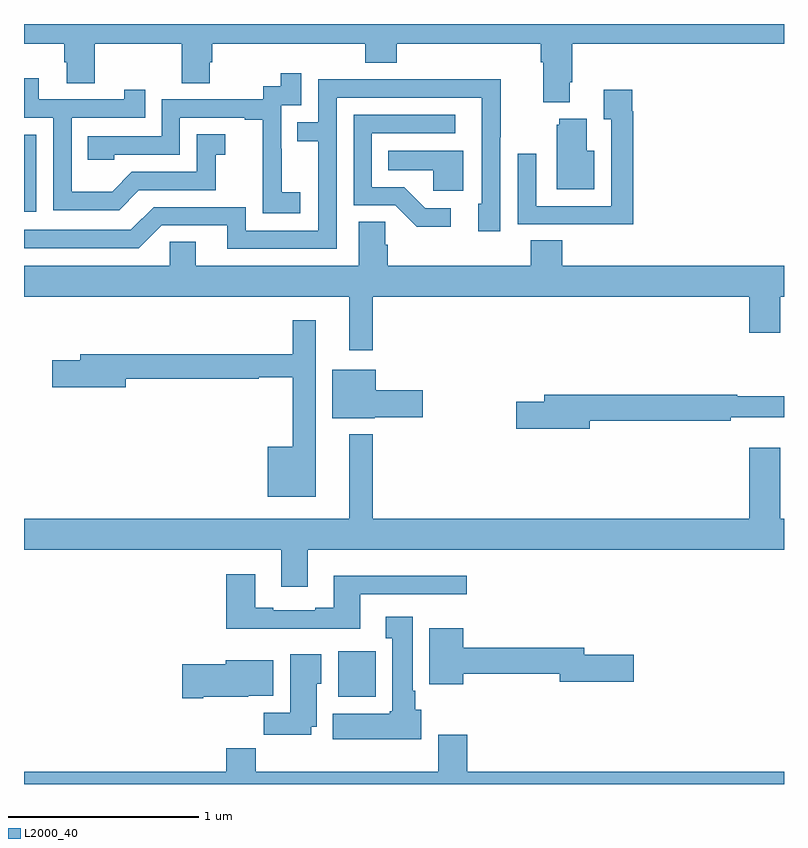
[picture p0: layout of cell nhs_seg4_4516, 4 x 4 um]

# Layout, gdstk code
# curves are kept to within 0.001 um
import gdstk
lib = gdstk.Library(unit=1e-6, precision=1e-09)
def R(c, l, rs):  # rectangles x0, y0, x1, y1
    for r in rs: c.add(gdstk.rectangle(r[:2], r[2:], *l))
def P(c, l, *ps):  # polygons
    for p in ps: c.add(gdstk.Polygon(p, *l))
L2000_40 = (2000, 40)

nhs_seg4_4516 = lib.new_cell('nhs_seg4_4516')
R(nhs_seg4_4516, L2000_40, [(354.653,817.358,354.85,817.6), (353,819.912,353.064,820.317)])
P(nhs_seg4_4516, L2000_40, [(355.873,820.594),(355.886,820.594),(355.886,820.796),(357,820.796),(357,820.9),(353,820.9),(353,820.796),(353.213,820.796),(353.213,820.698),(353.225,820.698),(353.225,820.588),(353.373,820.588),(353.373,820.796),(353.83,820.796),(353.83,820.588),(353.977,820.588),(353.977,820.698),(353.99,820.698),(353.99,820.796),(354.797,820.796),(354.797,820.697),(354.962,820.697),(354.962,820.796),(355.721,820.796),(355.721,820.7),(355.733,820.7),(355.733,820.487),(355.873,820.487)],
  [(354.454,820.015),(354.356,820.015),(354.356,820.244),(354.354,820.244),(354.354,820.473),(354.459,820.473),(354.459,820.642),(354.351,820.642),(354.351,820.572),(354.258,820.572),(354.258,820.503),(353.724,820.503),(353.724,820.308),(353.335,820.308),(353.335,820.185),(353.475,820.185),(353.475,820.212),(353.82,820.212),(353.82,820.407),(354.161,820.407),(354.161,820.395),(354.257,820.395),(354.257,820.111),(354.256,820.111),(354.256,819.905),(354.454,819.905)],
  [(353.605,820.026),(354.009,820.026),(354.009,820.211),(354.058,820.211),(354.058,820.321),(353.91,820.321),(353.91,820.122),(353.568,820.122),(353.464,820.018),(353.25,820.018),(353.25,820.407),(353.639,820.407),(353.639,820.555),(353.528,820.555),(353.528,820.503),(353.077,820.503),(353.077,820.615),(353,820.615),(353,820.407),(353.154,820.407),(353.154,819.921),(353.5,819.921)],
  [(354.645,820.512),(355.409,820.512),(355.41,819.954),(355.391,819.954),(355.391,819.81),(355.506,819.81),(355.506,820.303),(355.509,820.303),(355.509,820.61),(355.045,820.61),(355.045,820.608),(354.549,820.608),(354.549,820.383),(354.439,820.383),(354.439,820.282),(354.549,820.282),(354.549,819.813),(354.168,819.813),(354.168,819.936),(353.682,819.936),(353.562,819.816),(353,819.816),(353,819.72),(353.604,819.72),(353.724,819.84),(354.071,819.84),(354.071,819.717),(354.645,819.717)],
  [(356.207,820.442),(356.2,820.442),(356.2,820.555),(356.051,820.555),(356.051,820.399),(356.091,820.399),(356.091,819.942),(355.695,819.942),(355.695,820.216),(355.599,820.216),(355.599,819.846),(355.915,819.846),(355.915,819.845),(356.207,819.845)],
  [(355.246,819.93),(355.111,819.93),(355,820.041),(354.831,820.041),(354.831,820.326),(355.27,820.326),(355.27,820.422),(354.735,820.422),(354.735,819.945),(354.954,819.945),(355.067,819.833),(355.246,819.833)],
  [(356.002,820.234),(355.963,820.234),(355.963,820.402),(355.817,820.402),(355.817,820.371),(355.805,820.371),(355.805,820.031),(356.002,820.031)],
  [(355.312,820.234),(354.916,820.234),(354.916,820.13),(355.155,820.13),(355.155,820.022),(355.312,820.022)],
  [(354.835,819.464),(356.816,819.464),(356.816,819.276),(356.98,819.276),(356.98,819.464),(357,819.464),(357,819.628),(355.832,819.628),(355.832,819.761),(355.667,819.761),(355.667,819.628),(354.914,819.628),(354.914,819.737),(354.9,819.737),(354.9,819.86),(354.761,819.86),(354.761,819.628),(353.905,819.628),(353.905,819.755),(353.766,819.755),(353.766,819.628),(353,819.628),(353,819.464),(354.713,819.464),(354.713,819.183),(354.835,819.183)],
  [(354.535,819.34),(354.414,819.34),(354.414,819.163),(353.297,819.163),(353.297,819.129),(353.148,819.129),(353.148,818.987),(353.536,818.987),(353.536,819.034),(354.235,819.034),(354.235,819.042),(354.414,819.042),(354.414,818.674),(354.284,818.674),(354.284,818.411),(354.535,818.411)],
  [(354.846,818.831),(355.099,818.831),(355.099,818.973),(354.85,818.973),(354.85,819.079),(354.623,819.079),(354.623,818.825),(354.846,818.825)],
  [(355.978,818.812),(356.72,818.812),(356.72,818.831),(357,818.831),(357,818.941),(356.754,818.941),(356.754,818.948),(355.739,818.948),(355.739,818.912),(355.59,818.912),(355.59,818.77),(355.978,818.77)],
  [(354.493,818.132),(357,818.132),(357,818.296),(356.98,818.296),(356.98,818.671),(356.816,818.671),(356.816,818.296),(354.835,818.296),(354.835,818.74),(354.713,818.74),(354.713,818.296),(353,818.296),(353,818.132),(354.353,818.132),(354.353,817.938),(354.493,817.938)],
  [(354.769,817.899),(355.33,817.899),(355.33,817.996),(354.629,817.996),(354.629,817.828),(354.533,817.828),(354.533,817.815),(354.313,817.815),(354.313,817.828),(354.217,817.828),(354.217,818.005),(354.065,818.005),(354.065,817.718),(354.769,817.718)],
  [(355.09,817.29),(355.06,817.29),(355.06,817.39),(355.045,817.39),(355.045,817.78),(354.905,817.78),(354.905,817.667),(354.938,817.667),(354.938,817.284),(354.925,817.284),(354.925,817.27),(354.626,817.27),(354.626,817.136),(355.09,817.136)],
  [(355.312,817.48),(355.82,817.48),(355.82,817.438),(356.209,817.438),(356.209,817.58),(355.948,817.58),(355.948,817.616),(355.312,817.616),(355.312,817.72),(355.133,817.72),(355.133,817.424),(355.312,817.424)],
  [(354.511,817.202),(354.541,817.202),(354.541,817.428),(354.565,817.428),(354.565,817.582),(354.401,817.582),(354.401,817.276),(354.262,817.276),(354.262,817.158),(354.511,817.158)],
  [(353.944,817.358),(354.18,817.358),(354.18,817.364),(354.313,817.364),(354.313,817.552),(354.062,817.552),(354.062,817.529),(353.832,817.529),(353.832,817.351),(353.944,817.351)],
  [(357,816.964),(355.334,816.964),(355.334,817.159),(355.181,817.159),(355.181,816.964),(354.221,816.964),(354.221,817.088),(354.065,817.088),(354.065,816.964),(353,816.964),(353,816.9),(357,816.9)])

lib.write_gds('nhs_seg4_4516.gds')
